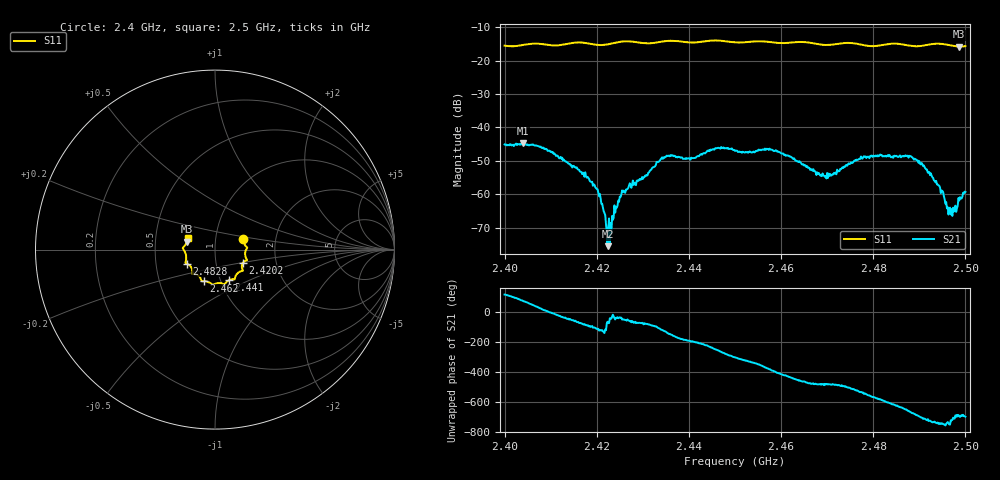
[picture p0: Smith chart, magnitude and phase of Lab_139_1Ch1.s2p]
# Hz S RI R 50
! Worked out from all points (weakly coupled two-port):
!   601 points, 2.4 GHz to 2.5 GHz, reference 50 ohm
!   highest |S21| = -44.81 dB at 2.404 GHz (marker M1); lowest = -75.6 dB at 2.4223 GHz (marker M2)
!   lowest |S11| = -15.8 dB at 2.4987 GHz (marker M3), VSWR 1.39, Z = 36.3 + j3.26 ohm
!   |S11| at or under -10 dB: start of sweep to end of sweep
!   S12 and S22 are empty: the file has one direction only
!   S11 on the Smith chart (normalised r, x): 2.4 GHz: 1.36, +0.17; 2.4202 GHz: 1.35, -0.20; 2.441 GHz: 1.10, -0.39; 2.462 GHz: 0.83, -0.30; 2.4828 GHz: 0.72, -0.12; 2.5 GHz: 0.73, +0.09
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2.4e9  0.1567 0.0606  -0.00222 0.0051  0 0  0 0
2.404e9  0.1711 0.0196  0.0019 0.00543  0 0  0 0
2.408667e9  0.1752 0.00374  0.0048 0.000686  0 0  0 0
2.416667e9  0.1777 -0.0591  0.000393 -0.00211  0 0  0 0
2.420167e9  0.1567 -0.072  -0.000553 -0.00105  0 0  0 0
2.422333e9  0.1492 -0.0923  6.34e-05 -0.000154  0 0  0 0
2.422667e9  0.1493 -0.0957  0.000102 -0.000421  0 0  0 0
2.4255e9  0.1561 -0.115  0.000685 -0.000909  0 0  0 0
2.433333e9  0.1125 -0.152  -0.000988 -0.00286  0 0  0 0
2.441e9  0.0772 -0.1705  -0.00326 0.00117  0 0  0 0
2.45e9  0.0269 -0.1865  0.00252 0.00365  0 0  0 0
2.462e9  -0.0616 -0.1761  0.000796 -0.00359  0 0  0 0
2.466667e9  -0.0772 -0.1672  -0.00115 -0.00205  0 0  0 0
2.47e9  -0.0961 -0.1426  -0.00111 -0.00176  0 0  0 0
2.477833e9  -0.1264 -0.1159  -0.00359 -3.73e-05  0 0  0 0
2.482833e9  -0.158 -0.0778  -0.00169 0.00324  0 0  0 0
2.483333e9  -0.1608 -0.0766  -0.0015 0.00337  0 0  0 0
2.4905e9  -0.1659 -0.0166  0.00283 0.00076  0 0  0 0
2.494667e9  -0.1788 0.0103  0.000949 -0.00041  0 0  0 0
2.496667e9  -0.1691 0.0216  0.000534 -0.000329  0 0  0 0
2.498667e9  -0.1566 0.0436  0.000734 0.000325  0 0  0 0
2.5e9  -0.1531 0.062  0.00101 0.00038  0 0  0 0
